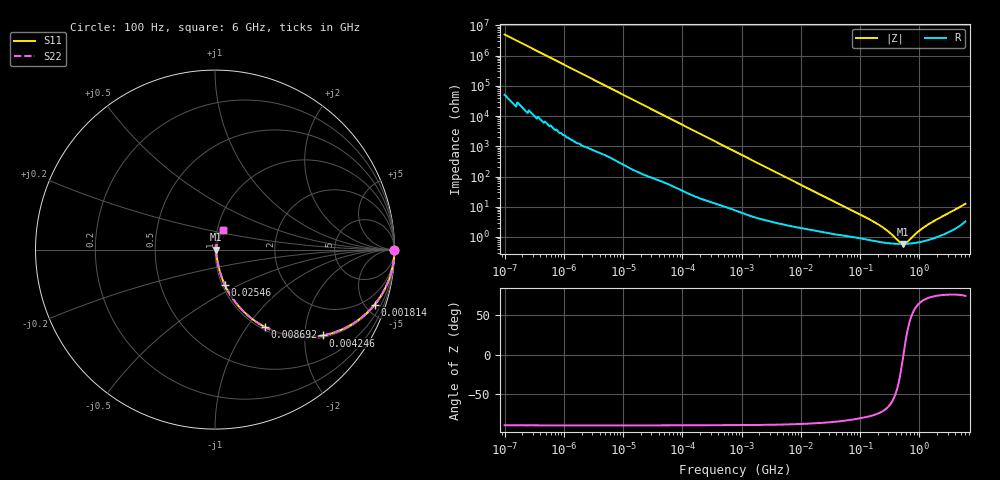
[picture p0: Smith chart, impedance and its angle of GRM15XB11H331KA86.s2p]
!Murata Part Number: GRM15XB11H331KA86
!These Parameters are Measured in Series Mode Connection
!Data Generated on Mar 30, 2021
!  o--ll--o
!Port1  Port2
!  o------o
!Operation Temp=25[degC], DC Bias Voltage=0[V]
!Freq. Start=100[Hz] Stop=6[GHz] 401[Steps]
# Hz S RI R 50
!Freq.(Hz) S11(Real) S11(Imag) S21(Real) S21(Imag) S12(Real) S12(Imag) S22(Real) S22(Imag)
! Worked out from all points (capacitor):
!   401 points, 100 Hz to 6 GHz, reference 50 ohm
!   read as one part in series: C = 316 pF near 109 Hz
!   lowest |Z| = 589 mohm at 534.7 MHz (marker M1)
!   series resonance near 539.8 MHz, so ESL is about 280 pH
!   S11 on the Smith chart (normalised r, x): 100 Hz: open; 1.814 MHz: 1.09, -5.76; 4.246 MHz: 1.06, -2.48; 8.692 MHz: 1.04, -1.22; 25.46 MHz: 1.03, -0.42; 6 GHz: 1.07, +0.24
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100  1 -1.99e-05  2e-07 1.99e-05  2e-07 1.99e-05  1 -1.99e-05
501  1 -9.89e-05  6e-07 9.89e-05  6e-07 9.89e-05  1 -9.89e-05
2008  1 -0.000395  1.8e-06 0.000395  1.8e-06 0.000395  1 -0.000395
40335  0.9999 -0.00786  0.000108 0.00786  0.000108 0.00786  0.9999 -0.00786
241822  0.9975 -0.0467  0.00255 0.0467  0.00255 0.0467  0.9975 -0.0467
774597  0.9767 -0.1453  0.0233 0.1453  0.0233 0.1453  0.9767 -0.1453
1813585  0.8889 -0.307  0.1111 0.307  0.1111 0.307  0.8889 -0.307
2713602  0.7843 -0.4025  0.2157 0.4025  0.2157 0.4025  0.7843 -0.4025
4246196  0.603 -0.4781  0.397 0.4781  0.397 0.4781  0.603 -0.4781
6075234  0.4319 -0.4818  0.5681 0.4818  0.5681 0.4818  0.4319 -0.4818
8692127  0.2777 -0.4312  0.7223 0.4312  0.7223 0.4312  0.2777 -0.4312
1.555665e7  0.1172 -0.2982  0.8828 0.2982  0.8828 0.2982  0.1172 -0.2982
2.545746e7  0.055 -0.1974  0.945 0.1974  0.945 0.1974  0.055 -0.1974
5.449875e7  0.0205 -0.0971  0.9795 0.0971  0.9795 0.0971  0.0205 -0.0971
1.459435e8  0.00913 -0.0363  0.9909 0.0363  0.9909 0.0363  0.00913 -0.0363
3.124326e8  0.00628 -0.0127  0.9937 0.0127  0.9937 0.0127  0.00628 -0.0127
4.674818e8  0.00586 -0.0032  0.9941 0.0032  0.9941 0.0032  0.00586 -0.0032
5.346885e8  0.00586 -0.000208  0.9941 0.000208  0.9941 0.000208  0.00586 -0.000208
6.11557e8  0.00592 0.00279  0.9941 -0.00279  0.9941 -0.00279  0.00592 0.00279
9.569533e8  0.00672 0.0134  0.9933 -0.0134  0.9933 -0.0134  0.00672 0.0134
1.431855e9  0.0085 0.0247  0.9915 -0.0247  0.9915 -0.0247  0.0085 0.0247
6e9  0.0447 0.1119  0.9553 -0.1119  0.9553 -0.1119  0.0447 0.1119
